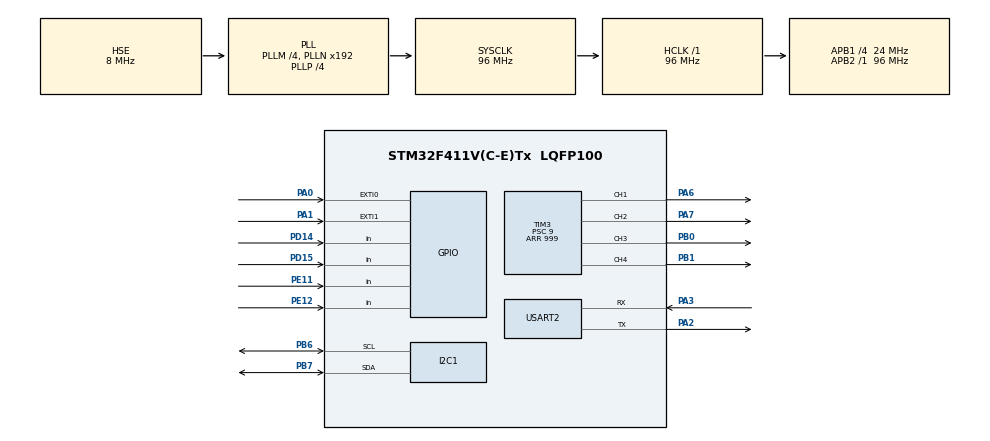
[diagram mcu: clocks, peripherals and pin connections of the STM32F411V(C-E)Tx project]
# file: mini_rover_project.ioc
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Dma.Request0=USART2_RX
Dma.Request1=USART2_TX
Dma.USART2_RX.0.Direction=DMA_PERIPH_TO_MEMORY
Dma.USART2_RX.0.FIFOMode=DMA_FIFOMODE_DISABLE
Dma.USART2_RX.0.Instance=DMA1_Stream5
Dma.USART2_RX.0.MemDataAlignment=DMA_MDATAALIGN_BYTE
Dma.USART2_RX.0.MemInc=DMA_MINC_ENABLE
Dma.USART2_RX.0.Mode=DMA_CIRCULAR
Dma.USART2_RX.0.PeriphDataAlignment=DMA_PDATAALIGN_BYTE
Dma.USART2_RX.0.PeriphInc=DMA_PINC_DISABLE
Dma.USART2_RX.0.Priority=DMA_PRIORITY_VERY_HIGH
Dma.USART2_TX.1.Direction=DMA_MEMORY_TO_PERIPH
Dma.USART2_TX.1.FIFOMode=DMA_FIFOMODE_DISABLE
Dma.USART2_TX.1.Instance=DMA1_Stream6
Dma.USART2_TX.1.MemDataAlignment=DMA_MDATAALIGN_BYTE
Dma.USART2_TX.1.MemInc=DMA_MINC_ENABLE
Dma.USART2_TX.1.Mode=DMA_NORMAL
Dma.USART2_TX.1.PeriphDataAlignment=DMA_PDATAALIGN_BYTE
Dma.USART2_TX.1.PeriphInc=DMA_PINC_DISABLE
Dma.USART2_TX.1.Priority=DMA_PRIORITY_VERY_HIGH
FREERTOS.Tasks01=defaultTask,24,3000,StartDefaultTask,Default,NULL,Dynamic,NULL,NULL
Mcu.Family=STM32F4
Mcu.Name=STM32F411V(C-E)Tx
Mcu.Package=LQFP100
NVIC.DMA1_Stream5_IRQn=true\:5\:0\:false\:false\:true\:true\:false\:true\:true
NVIC.DMA1_Stream6_IRQn=true\:5\:0\:false\:false\:true\:true\:false\:true\:true
NVIC.EXTI0_IRQn=true\:5\:0\:false\:false\:true\:false\:true\:true\:true
NVIC.EXTI1_IRQn=true\:5\:0\:false\:false\:true\:false\:true\:true\:true
NVIC.PriorityGroup=NVIC_PRIORITYGROUP_4
NVIC.USART2_IRQn=true\:5\:0\:false\:false\:true\:true\:true\:true\:true
PA0-WKUP.GPIO_ModeDefaultEXTI=GPIO_MODE_IT_RISING
PA0-WKUP.Signal=GPXTI0
PA1.GPIO_ModeDefaultEXTI=GPIO_MODE_IT_RISING
PA1.Signal=GPXTI1
PA13.Mode=Serial_Wire
PA13.Signal=SYS_JTMS-SWDIO
PA14.Mode=Serial_Wire
PA14.Signal=SYS_JTCK-SWCLK
PA2.Mode=Asynchronous
PA2.Signal=USART2_TX
PA3.Mode=Asynchronous
PA3.Signal=USART2_RX
PA6.Signal=S_TIM3_CH1
PA7.Signal=S_TIM3_CH2
PB0.Signal=S_TIM3_CH3
PB1.Signal=S_TIM3_CH4
PB6.Mode=I2C
PB6.Signal=I2C1_SCL
PB7.Mode=I2C
PB7.Signal=I2C1_SDA
PC14-OSC32_IN.Mode=LSE-External-Oscillator
PC14-OSC32_IN.Signal=RCC_OSC32_IN
PC15-OSC32_OUT.Mode=LSE-External-Oscillator
PC15-OSC32_OUT.Signal=RCC_OSC32_OUT
PD14.Signal=GPIO_Input
PD15.Signal=GPIO_Input
PE11.Signal=GPIO_Input
PE12.Signal=GPIO_Input
PH0\ -\ OSC_IN.Mode=HSE-External-Oscillator
PH0\ -\ OSC_IN.Signal=RCC_OSC_IN
PH1\ -\ OSC_OUT.Mode=HSE-External-Oscillator
PH1\ -\ OSC_OUT.Signal=RCC_OSC_OUT
ProjectManager.HeapSize=0x200
ProjectManager.StackSize=0x400
ProjectManager.TargetToolchain=STM32CubeIDE
RCC.48MHZClocksFreq_Value=48000000
RCC.AHBFreq_Value=96000000
RCC.APB1CLKDivider=RCC_HCLK_DIV4
RCC.APB1Freq_Value=24000000
RCC.APB1TimFreq_Value=48000000
RCC.APB2Freq_Value=96000000
RCC.APB2TimFreq_Value=96000000
RCC.CortexFreq_Value=96000000
RCC.HCLKFreq_Value=96000000
RCC.HSE_VALUE=8000000
RCC.HSI_VALUE=16000000
RCC.PLLI2SM=5
RCC.PLLI2SN=200
RCC.PLLM=4
RCC.PLLP=RCC_PLLP_DIV4
RCC.PLLQ=8
RCC.PLLSourceVirtual=RCC_PLLSOURCE_HSE
RCC.SYSCLKFreq_VALUE=96000000
RCC.SYSCLKSource=RCC_SYSCLKSOURCE_PLLCLK
RCC.VCOOutputFreq_Value=384000000
SH.S_TIM3_CH1.0=TIM3_CH1,PWM Generation1 CH1
SH.S_TIM3_CH2.0=TIM3_CH2,PWM Generation2 CH2
SH.S_TIM3_CH3.0=TIM3_CH3,PWM Generation3 CH3
SH.S_TIM3_CH4.0=TIM3_CH4,PWM Generation4 CH4
TIM3.AutoReloadPreload=TIM_AUTORELOAD_PRELOAD_ENABLE
TIM3.Channel-PWM\ Generation1\ CH1=TIM_CHANNEL_1
TIM3.Channel-PWM\ Generation2\ CH2=TIM_CHANNEL_2
TIM3.Channel-PWM\ Generation3\ CH3=TIM_CHANNEL_3
TIM3.Channel-PWM\ Generation4\ CH4=TIM_CHANNEL_4
TIM3.Period=999
TIM3.Prescaler=9
USART2.VirtualMode=VM_ASYNC
VP_FREERTOS_VS_CMSIS_V2.Mode=CMSIS_V2
VP_TIM3_VS_ClockSourceINT.Mode=Internal
board=STM32F411E-DISCO

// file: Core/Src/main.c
/* USER CODE BEGIN Header */
/**
  ******************************************************************************
  * @file           : main.c
  * @brief          : Main program body
  ******************************************************************************
  * @attention
  *
  * Copyright (c) 2024 STMicroelectronics.
  * All rights reserved.
  *
  * This software is licensed under terms that can be found in the LICENSE file
  * in the root directory of this software component.
  * If no LICENSE file comes with this software, it is provided AS-IS.
  *
  ******************************************************************************
  */
/* USER CODE END Header */
#include "main.h"
#include "cmsis_os.h"

/* USER CODE BEGIN Includes */
#include <rcl/rcl.h>
#include <rcl/error_handling.h>
#include <rclc/rclc.h>
#include <rclc/executor.h>
#include <uxr/client/transport.h>
#include <rmw_microxrcedds_c/config.h>
#include <rmw_microros/rmw_microros.h>

#include <std_msgs/msg/int16.h>
#include <std_msgs/msg/int32_multi_array.h>
#include <sensor_msgs/msg/imu.h>
#include <geometry_msgs/msg/twist.h>
#include <nav_msgs/msg/odometry.h>
#include <string.h>

#include "mpu6050.h"

/* USER CODE END Includes */

/* USER CODE BEGIN PM */

// Macro to calculate encoder velocity
#define encoderDistance(ticks) 2*3.1416*ticks/512;
/* USER CODE END PM */

I2C_HandleTypeDef hi2c1;

TIM_HandleTypeDef htim3;

UART_HandleTypeDef huart2;
DMA_HandleTypeDef hdma_usart2_rx;
DMA_HandleTypeDef hdma_usart2_tx;

/* Definitions for defaultTask */
osThreadId_t defaultTaskHandle;
const osThreadAttr_t defaultTask_attributes = {
  .name = "defaultTask",
  .stack_size = 3000 * 4,
  .priority = (osPriority_t) osPriorityNormal,
};
/* USER CODE BEGIN PV */
volatile int32_t LeftWheelEncoder=0;
volatile int32_t RightWheelEncoder=0;

double LeftWheelVelocity=0;
double RightWheelVelocity=0;

double LeftMotorSpeed=0;
double RightMotorSpeed=0;

const double Length = 0.225;    //distance between wheel and center of bot
const double WheelRadius = 0.07;
/* USER CODE END PV */

void SystemClock_Config(void);
static void MX_GPIO_Init(void);
static void MX_DMA_Init(void);
static void MX_USART2_UART_Init(void);
static void MX_TIM3_Init(void);
static void MX_I2C1_Init(void);
void StartDefaultTask(void *argument);

/* USER CODE BEGIN 0 */

void subscription_motor_pwm_callback(const void *msgin)
{
	std_msgs__msg__Int32MultiArray *motor_pwm = (std_msgs__msg__Int32MultiArray *) msgin;

	// Assigning a capacity of 100 from microros example code
	// Data needs some space allocated either statically or dynamically
	// Size indicates number of elements
	motor_pwm->data.capacity = 100;
	motor_pwm->data.data = (int32_t *) malloc(4*sizeof(int32_t));
	motor_pwm->data.size = 4;

	TIM3->CCR1 = motor_pwm->data.data[0];
	TIM3->CCR2 = motor_pwm->data.data[1];
	TIM3->CCR3 = motor_pwm->data.data[2];
	TIM3->CCR4 = motor_pwm->data.data[3];
}

// Interrupts for the wheel encoders
void HAL_GPIO_EXTI_Callback(uint16_t GPIO_Pin)
{
	//PA0 LeftWheelEncoderChannelA  PE11 LeftWheelEncoderChannelB
	if (GPIO_Pin == GPIO_PIN_0)
	{
//		LeftWheelEncoder++;
		if (HAL_GPIO_ReadPin(GPIOE, GPIO_PIN_11) == 1) LeftWheelEncoder++;
		else if (HAL_GPIO_ReadPin(GPIOE, GPIO_PIN_11) == 0) LeftWheelEncoder--;

	}
	//PA1 RightWheelEncoderChannelA  PE12 RightWheelEncoderChannelB
	else if (GPIO_Pin == GPIO_PIN_1)
	{
//		RightWheelEncoder++;
		if (HAL_GPIO_ReadPin(GPIOE, GPIO_PIN_12) == 0) RightWheelEncoder++;
		else if (HAL_GPIO_ReadPin(GPIOE, GPIO_PIN_12) == 1) RightWheelEncoder--;
	}
}
/* USER CODE END 0 */

int main(void)
{

  /* MCU Configuration--------------------------------------------------------*/

  /* Reset of all peripherals, Initializes the Flash interface and the Systick. */
  HAL_Init();

  /* Configure the system clock */
  SystemClock_Config();

  /* Initialize all configured peripherals */
  MX_GPIO_Init();
  MX_DMA_Init();
  MX_USART2_UART_Init();
  MX_TIM3_Init();
  MX_I2C1_Init();
  /* USER CODE BEGIN 2 */
  HAL_TIM_PWM_Start(&htim3,TIM_CHANNEL_1);
  HAL_TIM_PWM_Start(&htim3,TIM_CHANNEL_2);
  HAL_TIM_PWM_Start(&htim3,TIM_CHANNEL_3);
  HAL_TIM_PWM_Start(&htim3,TIM_CHANNEL_4);
  /* USER CODE END 2 */

  /* Init scheduler */
  osKernelInitialize();

  /* Create the thread(s) */
  /* creation of defaultTask */
  defaultTaskHandle = osThreadNew(StartDefaultTask, NULL, &defaultTask_attributes);

  /* Start scheduler */
  osKernelStart();

  /* We should never get here as control is now taken by the scheduler */

  /* Infinite loop */
  while (1)
  {

  }
}

void SystemClock_Config(void)
{
  RCC_OscInitTypeDef RCC_OscInitStruct = {0};
  RCC_ClkInitTypeDef RCC_ClkInitStruct = {0};

  /** Configure the main internal regulator output voltage
  */
  __HAL_RCC_PWR_CLK_ENABLE();
  __HAL_PWR_VOLTAGESCALING_CONFIG(PWR_REGULATOR_VOLTAGE_SCALE1);

  /** Initializes the RCC Oscillators according to the specified parameters
  * in the RCC_OscInitTypeDef structure.
  */
  RCC_OscInitStruct.OscillatorType = RCC_OSCILLATORTYPE_HSE;
  RCC_OscInitStruct.HSEState = RCC_HSE_ON;
  RCC_OscInitStruct.PLL.PLLState = RCC_PLL_ON;
  RCC_OscInitStruct.PLL.PLLSource = RCC_PLLSOURCE_HSE;
  RCC_OscInitStruct.PLL.PLLM = 4;
  RCC_OscInitStruct.PLL.PLLN = 192;
  RCC_OscInitStruct.PLL.PLLP = RCC_PLLP_DIV4;
  RCC_OscInitStruct.PLL.PLLQ = 8;
  if (HAL_RCC_OscConfig(&RCC_OscInitStruct) != HAL_OK)
  {
    Error_Handler();
  }

  /** Initializes the CPU, AHB and APB buses clocks
  */
  RCC_ClkInitStruct.ClockType = RCC_CLOCKTYPE_HCLK|RCC_CLOCKTYPE_SYSCLK
                              |RCC_CLOCKTYPE_PCLK1|RCC_CLOCKTYPE_PCLK2;
  RCC_ClkInitStruct.SYSCLKSource = RCC_SYSCLKSOURCE_PLLCLK;
  RCC_ClkInitStruct.AHBCLKDivider = RCC_SYSCLK_DIV1;
  RCC_ClkInitStruct.APB1CLKDivider = RCC_HCLK_DIV4;
  RCC_ClkInitStruct.APB2CLKDivider = RCC_HCLK_DIV1;

  if (HAL_RCC_ClockConfig(&RCC_ClkInitStruct, FLASH_LATENCY_3) != HAL_OK)
  {
    Error_Handler();
  }
}

static void MX_I2C1_Init(void)
{

  hi2c1.Instance = I2C1;
  hi2c1.Init.ClockSpeed = 100000;
  hi2c1.Init.DutyCycle = I2C_DUTYCYCLE_2;
  hi2c1.Init.OwnAddress1 = 0;
  hi2c1.Init.AddressingMode = I2C_ADDRESSINGMODE_7BIT;
  hi2c1.Init.DualAddressMode = I2C_DUALADDRESS_DISABLE;
  hi2c1.Init.OwnAddress2 = 0;
  hi2c1.Init.GeneralCallMode = I2C_GENERALCALL_DISABLE;
  hi2c1.Init.NoStretchMode = I2C_NOSTRETCH_DISABLE;
  if (HAL_I2C_Init(&hi2c1) != HAL_OK)
  {
    Error_Handler();
  }

}

static void MX_TIM3_Init(void)
{

  TIM_ClockConfigTypeDef sClockSourceConfig = {0};
  TIM_MasterConfigTypeDef sMasterConfig = {0};
  TIM_OC_InitTypeDef sConfigOC = {0};

  htim3.Instance = TIM3;
  htim3.Init.Prescaler = 9;
  htim3.Init.CounterMode = TIM_COUNTERMODE_UP;
  htim3.Init.Period = 999;
  htim3.Init.ClockDivision = TIM_CLOCKDIVISION_DIV1;
  htim3.Init.AutoReloadPreload = TIM_AUTORELOAD_PRELOAD_ENABLE;
  if (HAL_TIM_Base_Init(&htim3) != HAL_OK)
  {
    Error_Handler();
  }
  sClockSourceConfig.ClockSource = TIM_CLOCKSOURCE_INTERNAL;
  if (HAL_TIM_ConfigClockSource(&htim3, &sClockSourceConfig) != HAL_OK)
  {
    Error_Handler();
  }
  if (HAL_TIM_PWM_Init(&htim3) != HAL_OK)
  {
    Error_Handler();
  }
  sMasterConfig.MasterOutputTrigger = TIM_TRGO_RESET;
  sMasterConfig.MasterSlaveMode = TIM_MASTERSLAVEMODE_DISABLE;
  if (HAL_TIMEx_MasterConfigSynchronization(&htim3, &sMasterConfig) != HAL_OK)
  {
    Error_Handler();
  }
  sConfigOC.OCMode = TIM_OCMODE_PWM1;
  sConfigOC.Pulse = 0;
  sConfigOC.OCPolarity = TIM_OCPOLARITY_HIGH;
  sConfigOC.OCFastMode = TIM_OCFAST_DISABLE;
  if (HAL_TIM_PWM_ConfigChannel(&htim3, &sConfigOC, TIM_CHANNEL_1) != HAL_OK)
  {
    Error_Handler();
  }
  if (HAL_TIM_PWM_ConfigChannel(&htim3, &sConfigOC, TIM_CHANNEL_2) != HAL_OK)
  {
    Error_Handler();
  }
  if (HAL_TIM_PWM_ConfigChannel(&htim3, &sConfigOC, TIM_CHANNEL_3) != HAL_OK)
  {
    Error_Handler();
  }
  if (HAL_TIM_PWM_ConfigChannel(&htim3, &sConfigOC, TIM_CHANNEL_4) != HAL_OK)
  {
    Error_Handler();
  }
  HAL_TIM_MspPostInit(&htim3);

}

static void MX_USART2_UART_Init(void)
{

  huart2.Instance = USART2;
  huart2.Init.BaudRate = 115200;
  huart2.Init.WordLength = UART_WORDLENGTH_8B;
  huart2.Init.StopBits = UART_STOPBITS_1;
  huart2.Init.Parity = UART_PARITY_NONE;
  huart2.Init.Mode = UART_MODE_TX_RX;
  huart2.Init.HwFlowCtl = UART_HWCONTROL_NONE;
  huart2.Init.OverSampling = UART_OVERSAMPLING_16;
  if (HAL_UART_Init(&huart2) != HAL_OK)
  {
    Error_Handler();
  }

}

static void MX_DMA_Init(void)
{

  /* DMA controller clock enable */
  __HAL_RCC_DMA1_CLK_ENABLE();

  /* DMA interrupt init */
  /* DMA1_Stream5_IRQn interrupt configuration */
  HAL_NVIC_SetPriority(DMA1_Stream5_IRQn, 5, 0);
  HAL_NVIC_EnableIRQ(DMA1_Stream5_IRQn);
  /* DMA1_Stream6_IRQn interrupt configuration */
  HAL_NVIC_SetPriority(DMA1_Stream6_IRQn, 5, 0);
  HAL_NVIC_EnableIRQ(DMA1_Stream6_IRQn);

}

static void MX_GPIO_Init(void)
{
  GPIO_InitTypeDef GPIO_InitStruct = {0};

  /* GPIO Ports Clock Enable */
  __HAL_RCC_GPIOC_CLK_ENABLE();
  __HAL_RCC_GPIOH_CLK_ENABLE();
  __HAL_RCC_GPIOA_CLK_ENABLE();
  __HAL_RCC_GPIOB_CLK_ENABLE();
  __HAL_RCC_GPIOE_CLK_ENABLE();
  __HAL_RCC_GPIOD_CLK_ENABLE();

  /*Configure GPIO pins : PA0 PA1 */
  GPIO_InitStruct.Pin = GPIO_PIN_0|GPIO_PIN_1;
  GPIO_InitStruct.Mode = GPIO_MODE_IT_RISING;
  GPIO_InitStruct.Pull = GPIO_NOPULL;
  HAL_GPIO_Init(GPIOA, &GPIO_InitStruct);

  /*Configure GPIO pins : PE11 PE12 */
  GPIO_InitStruct.Pin = GPIO_PIN_11|GPIO_PIN_12;
  GPIO_InitStruct.Mode = GPIO_MODE_INPUT;
  GPIO_InitStruct.Pull = GPIO_NOPULL;
  HAL_GPIO_Init(GPIOE, &GPIO_InitStruct);

  /*Configure GPIO pins : PD14 PD15 */
  GPIO_InitStruct.Pin = GPIO_PIN_14|GPIO_PIN_15;
  GPIO_InitStruct.Mode = GPIO_MODE_INPUT;
  GPIO_InitStruct.Pull = GPIO_NOPULL;
  HAL_GPIO_Init(GPIOD, &GPIO_InitStruct);

  /* EXTI interrupt init*/
  HAL_NVIC_SetPriority(EXTI0_IRQn, 5, 0);
  HAL_NVIC_EnableIRQ(EXTI0_IRQn);

  HAL_NVIC_SetPriority(EXTI1_IRQn, 5, 0);
  HAL_NVIC_EnableIRQ(EXTI1_IRQn);

}

/* USER CODE BEGIN 4 */
bool cubemx_transport_open(struct uxrCustomTransport * transport);
bool cubemx_transport_close(struct uxrCustomTransport * transport);
size_t cubemx_transport_write(struct uxrCustomTransport* transport, const uint8_t * buf, size_t len, uint8_t * err);
size_t cubemx_transport_read(struct uxrCustomTransport* transport, uint8_t* buf, size_t len, int timeout, uint8_t* err);

void * microros_allocate(size_t size, void * state);
void microros_deallocate(void * pointer, void * state);
void * microros_reallocate(void * pointer, size_t size, void * state);
void * microros_zero_allocate(size_t number_of_elements, size_t size_of_element, void * state);
/* USER CODE END 4 */

void StartDefaultTask(void *argument)
{
  /* USER CODE BEGIN 5 */

	// Initialisation of MPU6050
	MPU_Init(&hi2c1);

	// micro-ROS configuration

	rmw_uros_set_custom_transport(
	    true,
	    (void *) &huart2,
	    cubemx_transport_open,
	    cubemx_transport_close,
	    cubemx_transport_write,
	    cubemx_transport_read);

	 rcl_allocator_t freeRTOS_allocator = rcutils_get_zero_initialized_allocator();
	 freeRTOS_allocator.allocate = microros_allocate;
	 freeRTOS_allocator.deallocate = microros_deallocate;
	 freeRTOS_allocator.reallocate = microros_reallocate;
	 freeRTOS_allocator.zero_allocate =  microros_zero_allocate;

	 if (!rcutils_set_default_allocator(&freeRTOS_allocator)) {
	      printf("Error on default allocators (line %d)\n", __LINE__);
	  }

	  // micro-ROS app
	  rcl_publisher_t encoder_publisher;
	  rcl_publisher_t imu_publisher;
	  rcl_subscription_t subscriber_motor_pwm;
	  nav_msgs__msg__Odometry encoder_data;
	  sensor_msgs__msg__Imu imu_data;
	  std_msgs__msg__Int32MultiArray sub_motor_pwm_msg;
	  rclc_support_t support;
	  rcl_allocator_t allocator;
	  rcl_node_t node;

	  // Initialise memory required by the multi array msg
	  sub_motor_pwm_msg.data.capacity = 100;
	  sub_motor_pwm_msg.data.data = (int32_t *) malloc(4 * sizeof(int32_t));
	  sub_motor_pwm_msg.data.size = 4;

	  allocator = rcl_get_default_allocator();

	  //create init_options
	  rclc_support_init(&support, 0, NULL, &allocator);

	  // create node
	  rclc_node_init_default(&node, "stm32_microros", "", &support);

	  // create publisher
	  rclc_publisher_init_default(
	    &encoder_publisher,
	    &node,
	    ROSIDL_GET_MSG_TYPE_SUPPORT(nav_msgs, msg, Odometry),
	    "rover/wheel_encoder_odom");

	  rclc_publisher_init_default(
	  	&imu_publisher,
	  	&node,
	  	ROSIDL_GET_MSG_TYPE_SUPPORT(sensor_msgs, msg, Imu),
	  	"rover/imu");

	  // create subscriber
	  rclc_subscription_init_default(
	  	  	     &subscriber_motor_pwm,
	  	  	     &node,
	  	  	     ROSIDL_GET_MSG_TYPE_SUPPORT(std_msgs, msg, Int32MultiArray),
	  	  	     "motor_pwm");

	  // create executor
	  rclc_executor_t executor = rclc_executor_get_zero_initialized_executor();
	  rclc_executor_init(&executor, &support.context, 2, &allocator);
	  rclc_executor_add_subscription(&executor, &subscriber_motor_pwm, &sub_motor_pwm_msg, &subscription_motor_pwm_callback, ON_NEW_DATA);

	  // Initialise variables used to get velocities of the wheels
	  int32_t prevLeftWheelEncoder = 0;
	  int32_t prevRightWheelEncoder = 0;

	  double LeftWheelDistance = 0;
	  double RightWheelDistance = 0;

	  // Function is used to get time elapsed in milliseconds since SysTick timer was turned on
	  uint32_t prevTime = HAL_GetTick();
	  uint32_t currentTime = 0;

	  // Initialise memory required by the IMU message
	  // Arrays and headers require initialisation dynamically or statically
	  // MicrROS docs cover this in more detail
	  imu_data.header.frame_id.capacity = 100;
	  imu_data.header.frame_id.data = (char *) malloc(imu_data.header.frame_id.capacity * sizeof(char));

	  // Initialising all covariances to 0, need to fix this
	  for(int i=0;i<9;i++)
	  {
		  imu_data.angular_velocity_covariance[i] = (double) 0.0;
		  imu_data.linear_acceleration_covariance[i] = (double) 0.0;
		  imu_data.orientation_covariance[i] = (double) 0.0;
	  }

	  for(;;)
	  {
		mpu_raw_data raw_data;
		mpu_scaled_data scaled_data;

		raw_data = MPU_Read_Raw_Data(&hi2c1);
		scaled_data = MPU_Scale_Data(raw_data);

		imu_data.linear_acceleration.x = scaled_data.ax;
		imu_data.linear_acceleration.y = scaled_data.ay;
		imu_data.linear_acceleration.z = scaled_data.az;

		imu_data.angular_velocity.x = scaled_data.gx;
		imu_data.angular_velocity.y = scaled_data.gy;
		imu_data.angular_velocity.z = scaled_data.gz;

		// Code block to convert wheel velocities to linear x and angular z
		// Calculate distances covered by the wheels
		LeftWheelDistance = encoderDistance(LeftWheelEncoder - prevLeftWheelEncoder);
		RightWheelDistance = encoderDistance(RightWheelEncoder - prevRightWheelEncoder);
		currentTime = HAL_GetTick();

		// Convert wheel velocities to bot velocities
		// Calculate distance covered and change in agngle
		// Divide by delta time to get velocities
		encoder_data.twist.twist.linear.x = (double) (RightWheelDistance + LeftWheelDistance)/(2*(currentTime-prevTime));
		encoder_data.twist.twist.angular.z = (double) (RightWheelDistance - LeftWheelDistance)/(2*Length*(currentTime-prevTime));

		// Update previous values of encoders and time
		prevLeftWheelEncoder = LeftWheelEncoder;
		prevRightWheelEncoder = RightWheelEncoder;
		prevTime = HAL_GetTick();

		// Publish data
	    rcl_ret_t ret1 = rcl_publish(&encoder_publisher, &encoder_data, NULL);
	    rcl_ret_t ret2 = rcl_publish(&imu_publisher, &imu_data, NULL);

	    // waits for 1000ns for ros data, theres no data it continues,
	    // if there is data then it executes subscription callback
	    rclc_executor_spin_some(&executor, 1000);

	    if ((ret1 | ret2) != RCL_RET_OK)
	    {
	      printf("Error publishing (line %d)\n", __LINE__);
	    }
	    osDelay(10);
	  }

//	  rclc_executor_spin(&executor);
  /* USER CODE END 5 */
}

void Error_Handler(void)
{
  __disable_irq();
  while (1)
  {
  }
}
